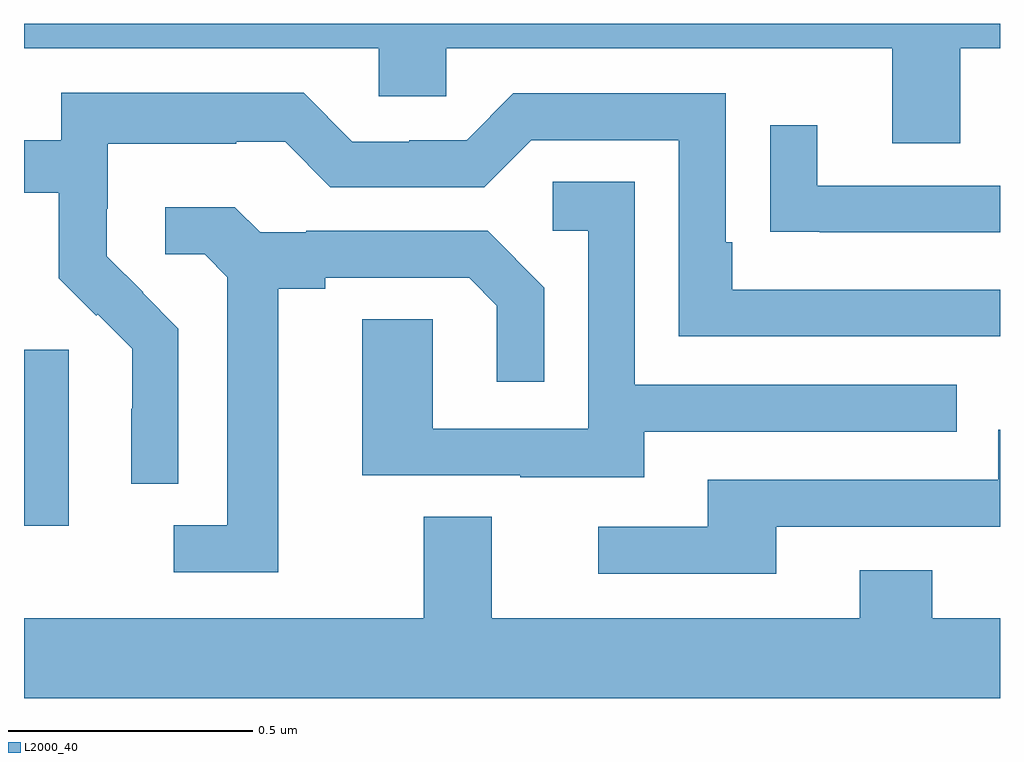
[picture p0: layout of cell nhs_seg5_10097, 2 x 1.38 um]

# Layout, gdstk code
import gdstk
lib = gdstk.Library(unit=1e-6, precision=1e-09)
def R(c, l, rs):  # rectangles x0, y0, x1, y1
    for r in rs: c.add(gdstk.rectangle(r[:2], r[2:], *l))
def P(c, l, *ps):  # polygons
    for p in ps: c.add(gdstk.Polygon(p, *l))
L2000_40 = (2000, 40)

nhs_seg5_10097 = lib.new_cell('nhs_seg5_10097')
R(nhs_seg5_10097, L2000_40, [(242,867.77,242.092,868.131)])
P(nhs_seg5_10097, L2000_40, [(243.919,868.748),(244,868.748),(244,868.799),(242,868.799),(242,868.748),(242.727,868.748),(242.727,868.65),(242.865,868.65),(242.865,868.748),(243.779,868.748),(243.779,868.554),(243.919,868.554)],
  [(242.316,868.174),(242.243,868.247),(242.244,868.248),(242.17,868.322),(242.17,868.419),(242.172,868.419),(242.172,868.553),(242.435,868.553),(242.435,868.557),(242.535,868.557),(242.628,868.464),(242.943,868.464),(243.039,868.56),(243.342,868.56),(243.342,868.158),(244,868.158),(244,868.254),(243.451,868.254),(243.451,868.351),(243.438,868.351),(243.438,868.656),(243.003,868.656),(242.907,868.56),(242.789,868.56),(242.789,868.557),(242.673,868.557),(242.573,868.657),(242.076,868.657),(242.076,868.56),(242,868.56),(242,868.452),(242.071,868.452),(242.071,868.277),(242.148,868.2),(242.151,868.203),(242.222,868.133),(242.222,868.01),(242.22,868.01),(242.22,867.856),(242.316,867.856)],
  [(244,868.467),(243.625,868.467),(243.625,868.591),(243.529,868.591),(243.529,868.372),(243.631,868.372),(243.631,868.371),(244,868.371)],
  [(243.271,867.963),(243.911,867.963),(243.911,868.059),(243.252,868.059),(243.252,868.475),(243.084,868.475),(243.084,868.374),(243.156,868.374),(243.156,867.969),(242.838,867.969),(242.838,868.193),(242.693,868.193),(242.693,867.873),(243.017,867.873),(243.017,867.869),(243.271,867.869)],
  [(242.521,868.256),(242.617,868.256),(242.617,868.278),(242.912,868.278),(242.969,868.221),(242.969,868.065),(243.066,868.065),(243.066,868.258),(242.95,868.374),(242.578,868.374),(242.578,868.371),(242.484,868.371),(242.432,868.423),(242.289,868.423),(242.289,868.326),(242.37,868.326),(242.417,868.279),(242.417,867.771),(242.307,867.771),(242.307,867.675),(242.521,867.675)],
  [(243.541,867.768),(244,867.768),(244,867.967),(243.996,867.967),(243.996,867.864),(243.401,867.864),(243.401,867.768),(243.177,867.768),(243.177,867.672),(243.541,867.672)],
  [(244,867.58),(243.861,867.58),(243.861,867.679),(243.713,867.679),(243.713,867.58),(242.959,867.58),(242.959,867.788),(242.819,867.788),(242.819,867.58),(242,867.58),(242,867.416),(244,867.416)])

lib.write_gds('nhs_seg5_10097.gds')
